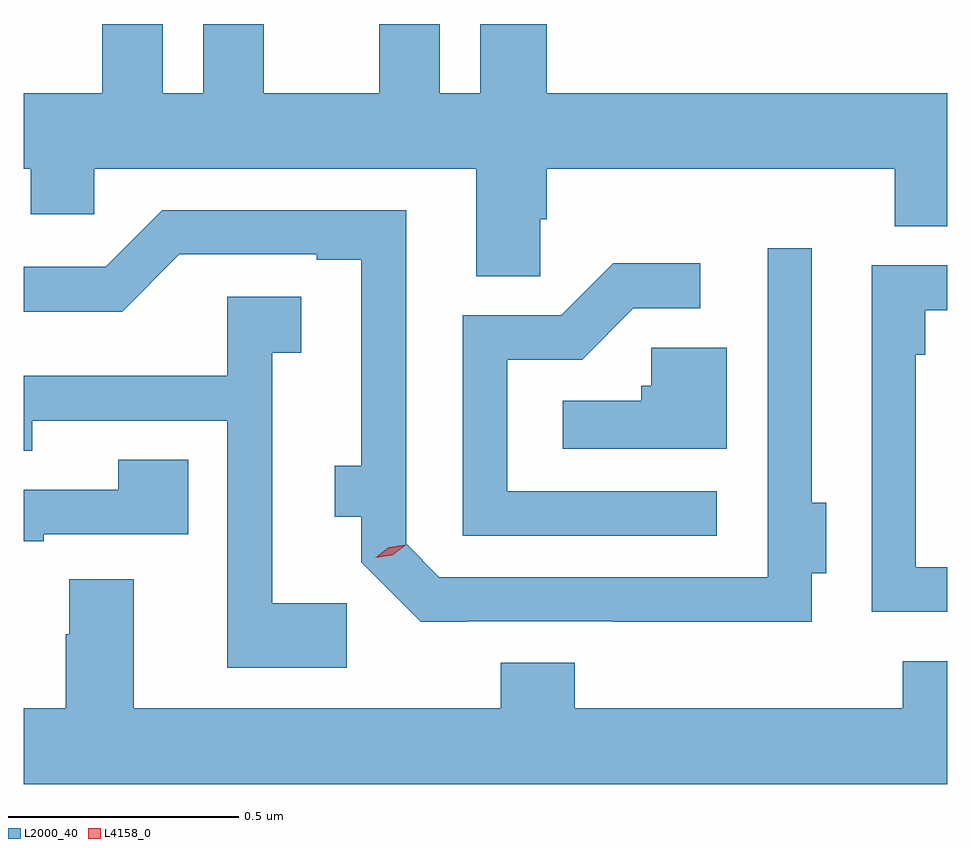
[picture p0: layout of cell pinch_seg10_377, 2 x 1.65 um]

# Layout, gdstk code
import gdstk
lib = gdstk.Library(unit=1e-6, precision=1e-09)
def P(c, l, *ps):  # polygons
    for p in ps: c.add(gdstk.Polygon(p, *l))
L2000_40 = (2000, 40)
L4158_0 = (4158, 0)

pinch_seg10_377 = lib.new_cell('pinch_seg10_377')
P(pinch_seg10_377, L2000_40, [(458.832,1272.235),(458.846,1272.235),(458.846,1272.344),(459.599,1272.344),(459.599,1272.22),(459.713,1272.22),(459.713,1272.508),(458.846,1272.508),(458.846,1272.658),(458.702,1272.658),(458.702,1272.508),(458.614,1272.508),(458.614,1272.658),(458.483,1272.658),(458.483,1272.508),(458.233,1272.508),(458.233,1272.658),(458.102,1272.658),(458.102,1272.508),(458.014,1272.508),(458.014,1272.658),(457.883,1272.658),(457.883,1272.508),(457.713,1272.508),(457.713,1272.344),(457.728,1272.344),(457.728,1272.246),(457.866,1272.246),(457.866,1272.344),(458.693,1272.344),(458.693,1272.112),(458.832,1272.112)],
  [(458.674,1271.364),(458.989,1271.364),(458.989,1271.363),(459.42,1271.363),(459.42,1271.468),(459.451,1271.468),(459.451,1271.621),(459.42,1271.621),(459.42,1272.172),(459.324,1272.172),(459.324,1271.46),(458.613,1271.46),(458.541,1271.532),(458.541,1272.255),(458.013,1272.255),(457.89,1272.132),(457.713,1272.132),(457.713,1272.035),(457.926,1272.035),(458.05,1272.159),(458.348,1272.159),(458.348,1272.147),(458.444,1272.147),(458.444,1271.701),(458.387,1271.701),(458.387,1271.591),(458.444,1271.591),(458.444,1271.492),(458.573,1271.363),(458.674,1271.363)],
  [(459.214,1271.646),(458.76,1271.646),(458.76,1271.931),(458.922,1271.931),(459.033,1272.042),(459.178,1272.042),(459.178,1272.14),(458.99,1272.14),(458.877,1272.027),(458.664,1272.027),(458.664,1271.55),(459.214,1271.55)],
  [(459.713,1271.481),(459.645,1271.481),(459.645,1271.942),(459.665,1271.942),(459.665,1272.038),(459.713,1272.038),(459.713,1272.135),(459.549,1272.135),(459.549,1271.385),(459.713,1271.385)],
  [(458.412,1271.403),(458.251,1271.403),(458.251,1271.946),(458.314,1271.946),(458.314,1272.067),(458.154,1272.067),(458.154,1271.896),(457.713,1271.896),(457.713,1271.734),(457.731,1271.734),(457.731,1271.799),(458.154,1271.799),(458.154,1271.264),(458.412,1271.264)],
  [(459.235,1271.957),(459.072,1271.957),(459.072,1271.874),(459.05,1271.874),(459.05,1271.842),(458.88,1271.842),(458.88,1271.738),(459.235,1271.738)],
  [(457.756,1271.553),(458.069,1271.553),(458.069,1271.714),(457.918,1271.714),(457.918,1271.649),(457.713,1271.649),(457.713,1271.538),(457.756,1271.538)],
  [(459.713,1271.278),(459.617,1271.278),(459.617,1271.176),(458.906,1271.176),(458.906,1271.275),(458.746,1271.275),(458.746,1271.176),(457.951,1271.176),(457.951,1271.455),(457.811,1271.455),(457.811,1271.336),(457.804,1271.336),(457.804,1271.176),(457.713,1271.176),(457.713,1271.012),(459.713,1271.012)])
P(pinch_seg10_377, L4158_0, [(458.474,1271.502),(458.474,1271.502),(458.474,1271.502),(458.503,1271.525),(458.54,1271.53),(458.541,1271.53),(458.541,1271.53),(458.511,1271.507)])

lib.write_gds('pinch_seg10_377.gds')
